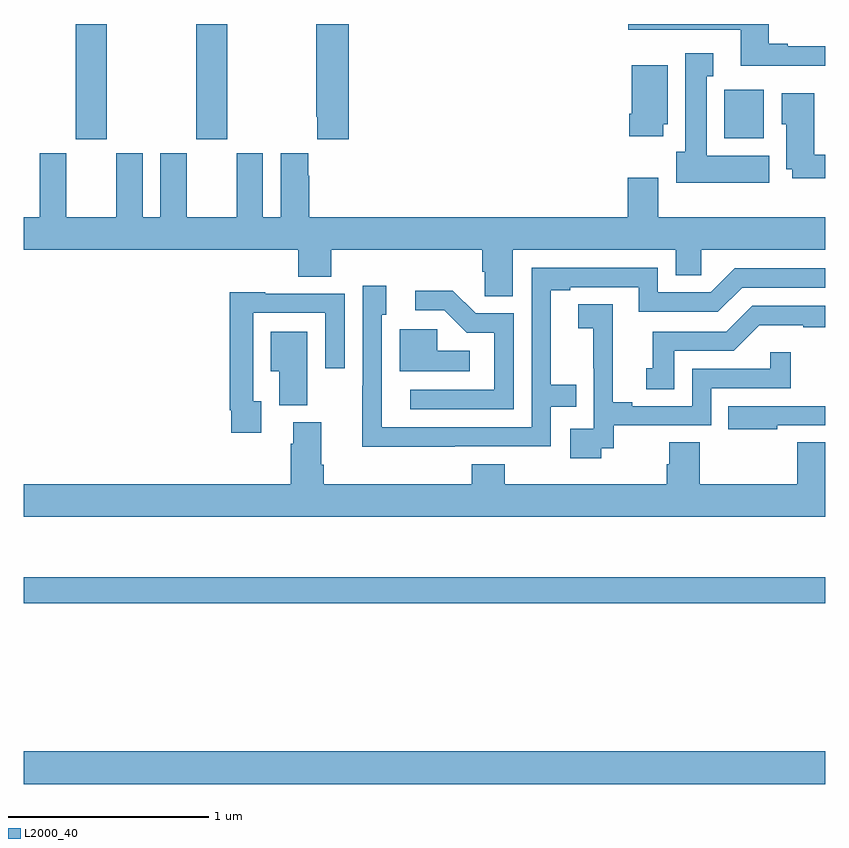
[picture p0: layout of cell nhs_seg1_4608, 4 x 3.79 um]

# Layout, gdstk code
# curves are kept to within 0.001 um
import gdstk
lib = gdstk.Library(unit=1e-6, precision=1e-09)
def R(c, l, rs):  # rectangles x0, y0, x1, y1
    for r in rs: c.add(gdstk.rectangle(r[:2], r[2:], *l))
def P(c, l, *ps):  # polygons
    for p in ps: c.add(gdstk.Polygon(p, *l))
L2000_40 = (2000, 40)

nhs_seg1_4608 = lib.new_cell('nhs_seg1_4608')
R(nhs_seg1_4608, L2000_40, [(361,542.408,365,542.572), (361,543.31,365,543.439), (361.261,545.625,361.416,546.199), (361.861,545.625,362.016,546.199), (364.496,545.63,364.693,545.872)])
P(nhs_seg1_4608, L2000_40, [(365,546.087),(364.813,546.087),(364.813,546.1),(364.717,546.1),(364.717,546.199),(364.017,546.199),(364.017,546.171),(364.577,546.171),(364.577,545.99),(365,545.99)],
  [(362.621,546.199),(362.461,546.199),(362.461,545.737),(362.465,545.737),(362.465,545.625),(362.621,545.625)],
  [(364.72,545.542),(364.408,545.542),(364.408,545.939),(364.441,545.939),(364.441,546.052),(364.301,546.052),(364.301,545.562),(364.256,545.562),(364.256,545.408),(364.72,545.408)],
  [(364.192,545.7),(364.213,545.7),(364.213,545.992),(364.034,545.992),(364.034,545.752),(364.022,545.752),(364.022,545.64),(364.192,545.64)],
  [(365,545.548),(364.945,545.548),(364.945,545.854),(364.781,545.854),(364.781,545.7),(364.805,545.7),(364.805,545.474),(364.835,545.474),(364.835,545.43),(365,545.43)],
  [(361.682,545.554),(361.682,545.236),(361.594,545.236),(361.594,545.554),(361.463,545.554),(361.463,545.236),(361.213,545.236),(361.213,545.554),(361.082,545.554),(361.082,545.236),(361,545.236),(361,545.072),(362.369,545.072),(362.369,544.939),(362.534,544.939),(362.534,545.072),(363.287,545.072),(363.287,544.963),(363.3,544.963),(363.3,544.84),(363.439,544.84),(363.439,545.072),(364.253,545.072),(364.253,544.945),(364.38,544.945),(364.38,545.072),(365,545.072),(365,545.236),(364.165,545.236),(364.165,545.431),(364.013,545.431),(364.013,545.236),(362.426,545.236),(362.426,545.441),(362.419,545.441),(362.419,545.554),(362.282,545.554),(362.282,545.236),(362.194,545.236),(362.194,545.554),(362.063,545.554),(362.063,545.236),(361.813,545.236),(361.813,545.554)],
  [(363.152,544.092),(363.63,544.092),(363.63,544.29),(363.758,544.29),(363.758,544.399),(363.631,544.399),(363.631,544.872),(363.727,544.872),(363.727,544.887),(364.068,544.887),(364.068,544.764),(364.464,544.764),(364.584,544.884),(365,544.884),(365,544.98),(364.548,544.98),(364.428,544.86),(364.164,544.86),(364.164,544.983),(363.534,544.983),(363.534,544.188),(362.787,544.188),(362.787,544.749),(362.809,544.749),(362.809,544.894),(362.691,544.894),(362.69,544.091)],
  [(363.444,544.755),(363.255,544.755),(363.142,544.868),(362.955,544.868),(362.955,544.77),(363.099,544.77),(363.21,544.659),(363.348,544.659),(363.348,544.374),(362.928,544.374),(362.928,544.278),(363.444,544.278)],
  [(362.185,544.317),(362.145,544.317),(362.145,544.758),(362.505,544.758),(362.505,544.482),(362.601,544.482),(362.601,544.854),(362.205,544.854),(362.205,544.861),(362.029,544.861),(362.029,544.273),(362.037,544.273),(362.037,544.161),(362.185,544.161)],
  [(363.882,544.083),(363.944,544.083),(363.944,544.197),(364.431,544.197),(364.431,544.383),(364.826,544.383),(364.826,544.561),(364.725,544.561),(364.725,544.479),(364.335,544.479),(364.335,544.293),(364.036,544.293),(364.036,544.313),(363.94,544.313),(363.94,544.691),(363.938,544.691),(363.938,544.802),(363.768,544.802),(363.768,544.681),(363.842,544.681),(363.842,544.483),(363.843,544.483),(363.843,544.179),(363.726,544.179),(363.726,544.032),(363.882,544.032)],
  [(364.246,544.569),(364.542,544.569),(364.67,544.697),(364.889,544.697),(364.889,544.686),(365,544.686),(365,544.794),(364.635,544.794),(364.506,544.665),(364.139,544.665),(364.139,544.482),(364.106,544.482),(364.106,544.378),(364.246,544.378)],
  [(363.226,544.57),(363.063,544.57),(363.063,544.677),(362.876,544.677),(362.876,544.466),(363.226,544.466)],
  [(362.416,544.663),(362.234,544.663),(362.234,544.466),(362.276,544.466),(362.276,544.297),(362.416,544.297)],
  [(364.759,544.197),(365,544.197),(365,544.293),(364.516,544.293),(364.516,544.178),(364.759,544.178)],
  [(365,544.112),(364.859,544.112),(364.859,543.904),(364.373,543.904),(364.373,544.112),(364.22,544.112),(364.22,544.002),(364.208,544.002),(364.208,543.904),(363.401,543.904),(363.401,544.003),(363.236,544.003),(363.236,543.904),(362.498,543.904),(362.498,544),(362.485,544),(362.485,544.212),(362.345,544.212),(362.345,544.106),(362.333,544.106),(362.333,543.904),(361,543.904),(361,543.74),(365,543.74)])

lib.write_gds('nhs_seg1_4608.gds')
